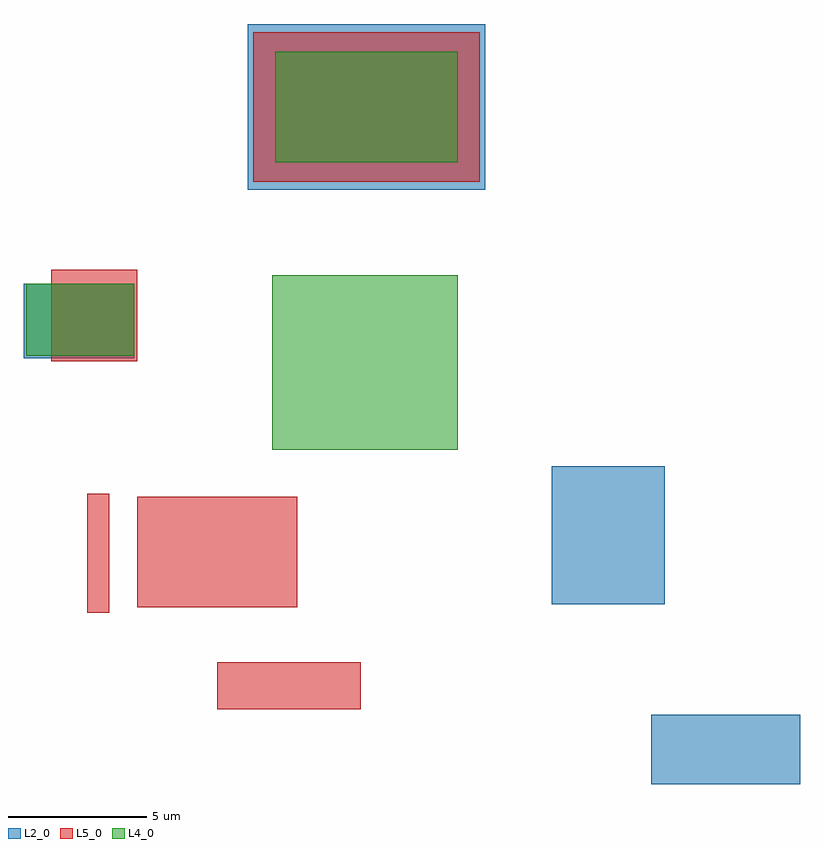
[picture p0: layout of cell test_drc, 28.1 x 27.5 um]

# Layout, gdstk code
import gdstk
lib = gdstk.Library(unit=1e-6, precision=5e-10)
def R(c, l, rs):  # rectangles x0, y0, x1, y1
    for r in rs: c.add(gdstk.rectangle(r[:2], r[2:], *l))
L2_0 = (2, 0)
L4_0 = (4, 0)
L5_0 = (5, 0)

test_drc = lib.new_cell('test_drc')
R(test_drc, L2_0, [(22.6,-15.5,28,-13), (26,-14.6,26.2,-14.1), (19,-9,23.1,-4), (-0.1,-0.1,3.9,2.6), (8,6,16.6,12)])
R(test_drc, L4_0, [(8.9,-3.4,15.6,2.9), (0,0,3.9,2.6), (9,7,15.6,11)])
R(test_drc, L5_0, [(6.9,-12.8,12.1,-11.1), (2.2,-9.3,3,-5), (4,-9.1,9.8,-5.1), (0.9,-0.2,4,3.1), (8.2,6.3,16.4,11.7)])

lib.write_gds('test_drc.gds')
